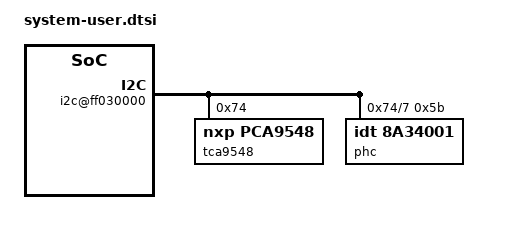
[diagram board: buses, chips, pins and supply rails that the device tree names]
/include/ "system-conf.dtsi"
/ {
	chosen {
		stdout-path = "serial0:115200";
	};

	amba_pl {
		ptp_1588_timer_syncer@80000000 {
			interrupt-names = "tod_intr";
			interrupt-parent = <0x56>;
			interrupts = <0x0 0x60 0x4>;
        };

        ptp_1588_timer_syncer@80010000 {
			interrupt-names = "tod_intr";
            interrupt-parent = <0x56>;
            interrupts = <0x0 0x60 0x4>;
        };
        
		ptp_1588_timer_syncer@80020000 {
			interrupt-names = "tod_intr";
            interrupt-parent = <0x56>;
            interrupts = <0x0 0x60 0x4>;
        };
        
		ptp_1588_timer_syncer@80030000 {
			interrupt-names = "tod_intr";
			interrupt-parent = <0x56>;
            interrupts = <0x0 0x60 0x4>;
        };

		gt_pll: gt_pll@a40b0000 {
			reg = <0x0 0xa40b0000 0x0 0x10000>;
		};

		gt_ctrl_common: gt_ctrl_common@a4070000 {
			reg = <0x0 0xa4070000 0x0 0x40000>;
		};

		axi_mux: axi_mux@a4060000 {
            reg = <0x0 0xa4060000 0x0 0x10000>;
        };


		mrmac@a4010000 {
			axistream-connected = <&DATAPATH_MCDMA_HIER_DATAPATH_MCDMA_0_axi_mcdma_0>;
			interrupt-names = "mm2s_ch1_introut", "s2mm_ch1_introut";
            interrupts = < 0 88 4 0 91 4 >;
			local-mac-address = [00 0a 35 00 00 00];
			xlnx,channel-ids = "1";
			xlnx,num-queues = /bits/ 16 <0x1>;
			xlnx,addrwidth = <0x20>;		
			max-speed = <25000>;
			xlnx,gtpll = <&gt_pll>;
			xlnx,gtctrl = <&gt_ctrl_common>;
			xlnx,axi_mux = <&axi_mux>;
			ptp-hardware-clock = <&MRMAC_1588_HELPER_HIER_SYS_TIMER_0_ptp_1588_timer_syncer_0>;
		};

		mrmac@a4011000 {
			axistream-connected = <&DATAPATH_MCDMA_HIER_DATAPATH_MCDMA_1_axi_mcdma_0>;
			interrupt-names = "mm2s_ch1_introut", "s2mm_ch1_introut";
			interrupts = < 0 89 4 0 93 4 >;	
			local-mac-address = [00 0a 35 00 00 01];
			xlnx,channel-ids = "1";
			xlnx,num-queues = /bits/ 16 <0x1>;
			xlnx,addrwidth = <0x20>;			
			max-speed = <25000>;
			xlnx,gtpll = <&gt_pll>;
			xlnx,gtctrl = <&gt_ctrl_common>;
			xlnx,axi_mux = <&axi_mux>;
			ptp-hardware-clock = <&MRMAC_1588_HELPER_HIER_SYS_TIMER_1_ptp_1588_timer_syncer_0>;
		};

		mrmac@a4012000 {
			axistream-connected = <&DATAPATH_MCDMA_HIER_DATAPATH_MCDMA_2_axi_mcdma_0>;
			interrupt-names = "mm2s_ch1_introut", "s2mm_ch1_introut";
			interrupts = < 0 90 4 0 94 4 >;
			local-mac-address = [00 0a 35 00 00 02];
			xlnx,channel-ids = "1";
			xlnx,num-queues = /bits/ 16 <0x1>;
			xlnx,addrwidth = <0x20>;
			max-speed = <25000>;
			xlnx,gtpll = <&gt_pll>;
			xlnx,gtctrl = <&gt_ctrl_common>;
			xlnx,axi_mux = <&axi_mux>;
			ptp-hardware-clock = <&MRMAC_1588_HELPER_HIER_SYS_TIMER_2_ptp_1588_timer_syncer_0>;
		};

		mrmac@a4013000 {
			axistream-connected = <&DATAPATH_MCDMA_HIER_DATAPATH_MCDMA_3_axi_mcdma_0>;
			interrupt-names = "mm2s_ch1_introut", "s2mm_ch1_introut";
            interrupts = < 0 92 4 0 95 4 >;
			local-mac-address = [00 0a 35 00 00 03];
			xlnx,channel-ids = "1";
			xlnx,num-queues = /bits/ 16 <0x1>;
			xlnx,addrwidth = <0x20>;
			max-speed = <25000>;
			xlnx,gtpll = <&gt_pll>;
			xlnx,gtctrl = <&gt_ctrl_common>;
			xlnx,axi_mux = <&axi_mux>;
			ptp-hardware-clock = <&MRMAC_1588_HELPER_HIER_SYS_TIMER_3_ptp_1588_timer_syncer_0>;
		};

		/delete-node/ gt_quad_base@a4000000;
		/delete-node/ gpio@a40a0000;
		/delete-node/ gpio@a4060000;
		/delete-node/ gpio@a4070000;
		/delete-node/ gpio@a4080000;
		/delete-node/ gpio@a4090000;
		/delete-node/ gpio@a40b0000;
	};
	amba: axi {
	      i2c@ff030000 {
		      tca9548@74 {
			      	compatible = "nxp,pca9548";
				#pinctrl-names = "default";
				#address-cells = <0x1>;
				#size-cells = <0x0>;
			      	reg = <0x74>;
				#i2c-mux-idle-disconnect;



			      i2c@7 {
					#address-cells = <0x1>;
					#size-cells = <0x0>;
				      	reg = <0x7>;



				      phc@5b {
					      compatible = "idt,8a34001";
					      reg = <0x5b>;
				      };
			      };
		      };
	      };
      };

};
